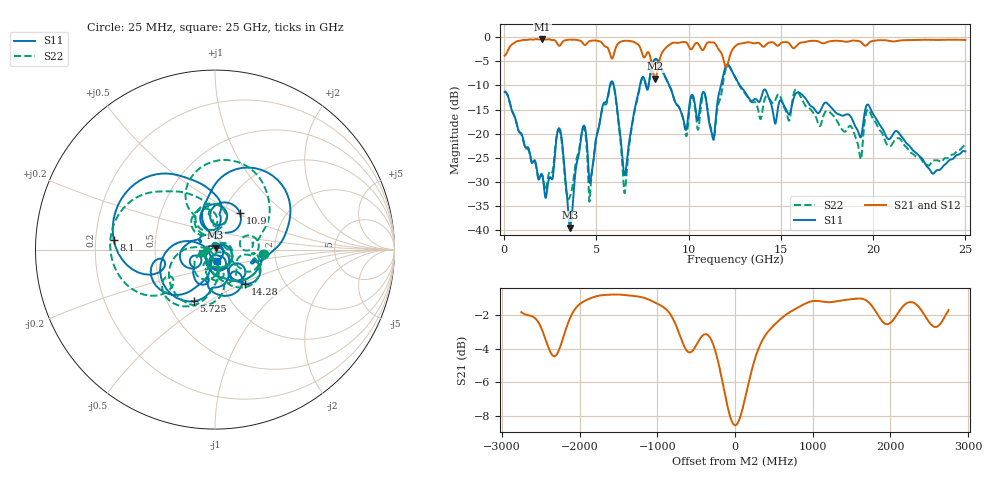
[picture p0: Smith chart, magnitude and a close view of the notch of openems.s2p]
! RG_s4_pwr_n4: Finite board 24 × 16 mm, via L1 → L4 through the GND/PWR pair L2/L3, four GND vias at 1 mm joined to L2 only (openings in the PWR plane L3)
! stackup: 4-layer 1.6 mm FR-4
! ports: 1 L1, 2 L4
! openEMS 0.37.0, staircase, fine mesh (dfine 0.035 mm), 1536150 cells
# Hz S RI R 50
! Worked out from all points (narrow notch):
!   1000 points, 25 MHz to 25 GHz, reference 50 ohm
!   highest |S21| = -0.42 dB at 2.075 GHz (marker M1); lowest = -8.6 dB at 8.175 GHz (marker M2)
!   notch at M2: 7.6 dB deep, 461 MHz wide at half that depth
!   lowest |S11| = -39.5 dB at 3.575 GHz (marker M3), VSWR 1.02, Z = 50.3 + j1.02 ohm
!   |S11| at or under -10 dB: start of sweep to 5.735 GHz; 8.953 GHz to 11.75 GHz (2.801 GHz wide, 27.1 % of centre); 12.77 GHz to end of sweep (the widest 3 of 5)
!   |S22| runs from -34.1 to -4.6 dB; largest |S21 - S12| = 0.0043
!   S11 on the Smith chart (normalised r, x): 25 MHz: 1.74, -0.08; 5.725 GHz: 0.68, -0.43; 8.1 GHz: 0.28, +0.04; 10.9 GHz: 1.19, +0.53; 14.28 GHz: 1.29, -0.52; 25 GHz: 1.01, -0.13
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2.5e7  0.2694 -0.0225  0.6423 0.0135  0.6423 0.0135  0.2736 -0.0228
2.075e9  -0.0313 0.0187  0.6507 -0.6962  0.6507 -0.6962  -0.0308 0.0206
3e9  0.0348 -0.1078  0.2957 -0.7555  0.2958 -0.7557  0.047 -0.0968
3.575e9  0.00325 0.0101  0.1311 -0.931  0.1311 -0.931  0.00365 0.0223
4.2e9  0.0794 -0.0604  -0.1811 -0.8766  -0.1808 -0.8768  0.0955 -0.033
4.675e9  0.00793 -0.0313  -0.2793 -0.87  -0.2792 -0.8701  0.0216 -0.0146
5.725e9  -0.1166 -0.2878  -0.5386 -0.4224  -0.5393 -0.4229  -0.0147 -0.298
6.55e9  -0.0311 -0.0204  -0.784 -0.4715  -0.7843 -0.4716  -0.0132 -0.0213
7.35e9  -0.1827 -0.2492  -0.7931 0.0521  -0.7945 0.0523  -0.0774 -0.2912
8.1e9  -0.5644 0.0538  -0.3933 0.0962  -0.3935 0.0975  -0.5425 -0.1319
8.175e9  -0.5643 0.1726  -0.3717 0.00791  -0.372 0.00911  -0.5807 -0.0209
8.35e9  -0.4181 0.3853  -0.471 -0.1608  -0.4713 -0.1593  -0.5146 0.2259
9.825e9  0.000923 0.1122  -0.7064 0.5383  -0.7063 0.5384  -0.0192 0.1013
1.09e10  0.138 0.2065  -0.4729 0.6511  -0.4722 0.6504  0.0247 0.2446
1.13e10  0.0291 0.0869  -0.2592 0.8433  -0.2591 0.8434  0.000264 0.0943
1.2e10  0.1855 0.4571  -0.032 0.4887  -0.0311 0.4874  -0.0843 0.454
1.2525e10  0.3789 0.0583  -0.1358 0.7919  -0.1374 0.7903  0.3044 0.231
1.4275e10  0.1693 -0.1899  0.5284 0.6772  0.5268 0.6787  0.2433 0.0114
1.6675e10  -0.0429 -0.1856  0.9107 -0.0689  0.9138 -0.0687  0.0332 -0.1689
2.085e10  -0.0765 0.0432  -0.1982 -0.893  -0.1999 -0.8957  -0.0686 -0.0289
2.3025e10  0.0358 0.0248  -0.8377 -0.4183  -0.8412 -0.4183  -0.0457 -0.00972
2.5e10  0.0104 -0.0648  -0.8713 0.3338  -0.8736 0.337  -0.0736 -0.0217
